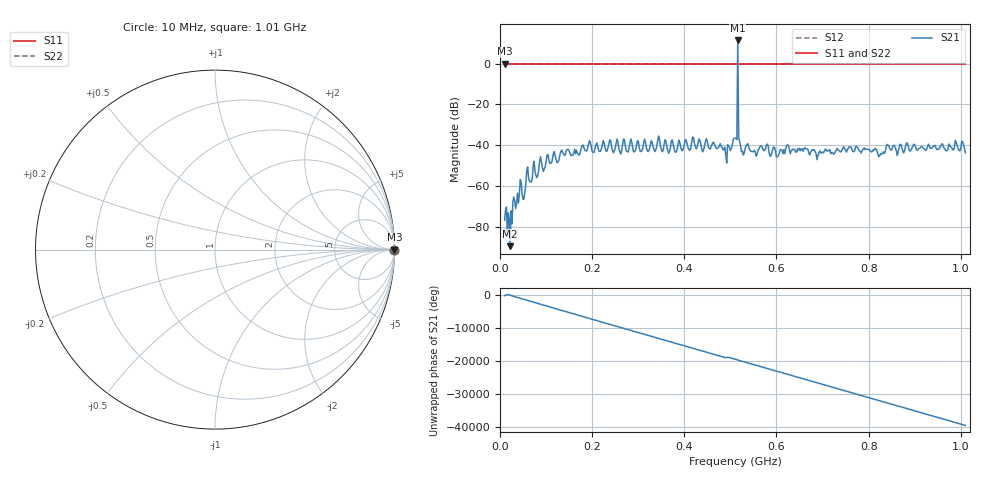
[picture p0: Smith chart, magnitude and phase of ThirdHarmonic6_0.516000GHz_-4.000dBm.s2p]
! 8/15/2025 3:48:02 PM
! C:\ANRITSUVNA\TEMP\TEMP.S2P
! CHANNEL.1
! TR.MEASUREMENT
! RAW.DATA
! RF.CORRECTION.OFF
! AVERAGING.OFF
! IF.BANDWIDTH: 5KHZ
! SWEEPTYPE:  FREQ.SWEEP(Linear)
! Reference Plane Port Info
! PORT:  PORT1  PORT2
! DISTANCE:  0  m  0  m
! TIME:  0  s  0  s
! PHASE.OFFSET:  0  deg.  0  deg.
! LOSS:  0  dB  0  dB
! REF.LOSS:  0  dB  0  dB
! REF.FREQ:  0  Hz  0  Hz
! Power Info
! POWER:  -20  dBm  -20  dBm
! EFF.POWER:  -20  dBm  -20  dBm
! SOURCE.ATTEN:  0  dB  0  dB
! TEST.ATTEN:  0  dB  0  dB
# GHZ S RI R 50.0
! FREQ.GHZ  S11RE  S11IM  S21RE  S21IM  S12RE  S12IM  S22RE  S22IM
!; PortSelection: Port_12
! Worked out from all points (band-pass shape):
!   501 points, 10 MHz to 1.01 GHz, reference 50 ohm
!   highest |S21| = 11.32 dB at 516 MHz (marker M1); lowest = -89.4 dB at 22 MHz (marker M2)
!   |S21| within 3 dB of the highest: 515.8763 MHz to 516.1258 MHz (249.5 kHz wide, 0.0484 % of centre)
!   lowest |S11| = 0.0 dB at 10 MHz (marker M3)
!   |S11| at or under -10 dB: nowhere
!   |S22| runs from 0.0 to 0.0 dB; largest |S21 - S12| = 4
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0.01  1 0  7.66e-05 -0.000125  1 0  1 0
0.022  1 0  7.7e-06 3.31e-05  1 0  1 0
0.042  1 0  0.00062 -0.000143  1 0  1 0
0.052  1 0  -0.000162 -0.000458  1 0  1 0
0.06  1 0  -0.000126 -0.00295  1 0  1 0
0.088  1 0  -0.00409 -0.00332  1 0  1 0
0.178  1 0  -0.00973 0.000344  1 0  1 0
0.336  1 0  0.00109 -0.00692  1 0  1 0
0.344  1 0  0.0126 -0.0112  1 0  1 0
0.366  1 0  -0.0052 0.00371  1 0  1 0
0.448  1 0  0.000147 0.0146  1 0  1 0
0.488  1 0  0.00392 -0.00798  1 0  1 0
0.51  1 0  -0.00818 0.0126  1 0  1 0
0.512  1 0  0.0121 0.00882  1 0  1 0
0.516  1 0  -0.6892 -3.615  1 0  1 0
0.52  1 0  0.00859 0.00896  1 0  1 0
0.522  1 0  0.00675 -0.00708  1 0  1 0
0.528  1 0  -0.00221 0.00534  1 0  1 0
0.678  1 0  -0.00582 -0.00517  1 0  1 0
0.826  1 0  0.00435 0.00449  1 0  1 0
0.844  1 0  0.008 0.00525  1 0  1 0
1.01  1 0  -0.00627 -0.00185  1 0  1 0
